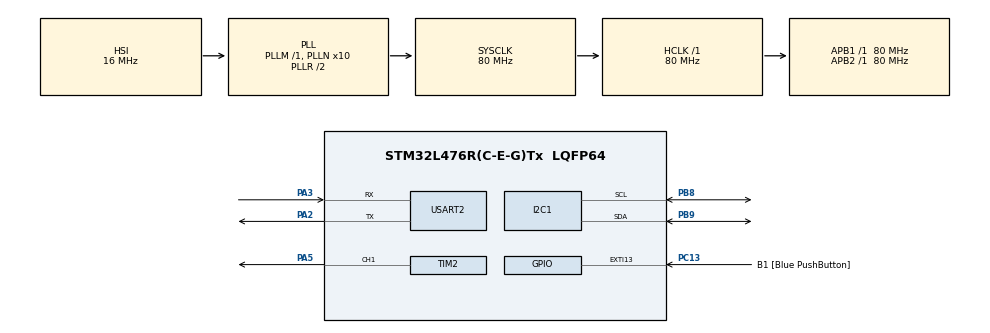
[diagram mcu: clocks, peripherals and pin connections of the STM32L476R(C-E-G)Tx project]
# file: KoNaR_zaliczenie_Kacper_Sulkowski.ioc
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I2C1.Timing=0x10909CEC
Mcu.Family=STM32L4
Mcu.Name=STM32L476R(C-E-G)Tx
Mcu.Package=LQFP64
NVIC.EXTI15_10_IRQn=true\:0\:0\:false\:false\:true\:true\:true\:true
NVIC.I2C1_ER_IRQn=true\:0\:0\:false\:false\:true\:true\:true\:true
NVIC.I2C1_EV_IRQn=true\:0\:0\:false\:false\:true\:true\:true\:true
NVIC.PriorityGroup=NVIC_PRIORITYGROUP_4
NVIC.TIM4_IRQn=true\:0\:0\:false\:false\:true\:true\:true\:true
NVIC.USART2_IRQn=true\:0\:0\:false\:false\:true\:true\:true\:true
PA14\ (JTCK-SWCLK).GPIO_Label=TCK
PA14\ (JTCK-SWCLK).Signal=SYS_JTCK-SWCLK
PA2.GPIO_Mode=GPIO_MODE_AF_PP
PA2.GPIO_ModeDefaultPP=GPIO_MODE_AF_PP
PA2.GPIO_PuPd=GPIO_NOPULL
PA2.GPIO_Speed=GPIO_SPEED_FREQ_VERY_HIGH
PA2.Mode=Asynchronous
PA2.Signal=USART2_TX
PA3.GPIO_Mode=GPIO_MODE_AF_PP
PA3.GPIO_ModeDefaultPP=GPIO_MODE_AF_PP
PA3.GPIO_PuPd=GPIO_NOPULL
PA3.GPIO_Speed=GPIO_SPEED_FREQ_VERY_HIGH
PA3.Mode=Asynchronous
PA3.Signal=USART2_RX
PA5.Signal=S_TIM2_CH1
PB3\ (JTDO-TRACESWO).GPIO_Label=SWO
PB3\ (JTDO-TRACESWO).Signal=SYS_JTDO-SWO
PB8.Mode=I2C
PB8.Signal=I2C1_SCL
PB9.Mode=I2C
PB9.Signal=I2C1_SDA
PC13.GPIO_Label=B1 [Blue PushButton]
PC13.GPIO_ModeDefaultEXTI=GPIO_MODE_IT_FALLING
PC13.GPIO_PuPd=GPIO_NOPULL
PC13.Signal=GPXTI13
PC14-OSC32_IN\ (PC14).Mode=LSE-External-Oscillator
PC14-OSC32_IN\ (PC14).Signal=RCC_OSC32_IN
PC15-OSC32_OUT\ (PC15).Mode=LSE-External-Oscillator
PC15-OSC32_OUT\ (PC15).Signal=RCC_OSC32_OUT
PH0-OSC_IN\ (PH0).Signal=RCC_OSC_IN
PH1-OSC_OUT\ (PH1).Signal=RCC_OSC_OUT
ProjectManager.HeapSize=0x200
ProjectManager.StackSize=0x400
ProjectManager.TargetToolchain=STM32CubeIDE
RCC.ADCFreq_Value=64000000
RCC.AHBFreq_Value=80000000
RCC.APB1Freq_Value=80000000
RCC.APB1TimFreq_Value=80000000
RCC.APB2Freq_Value=80000000
RCC.APB2TimFreq_Value=80000000
RCC.CortexFreq_Value=80000000
RCC.HCLKFreq_Value=80000000
RCC.HSE_VALUE=8000000
RCC.HSI_VALUE=16000000
RCC.MSI_VALUE=4000000
RCC.PLLN=10
RCC.PLLSourceVirtual=RCC_PLLSOURCE_HSI
RCC.PREFETCH_ENABLE=1
RCC.SYSCLKFreq_VALUE=80000000
RCC.SYSCLKSource=RCC_SYSCLKSOURCE_PLLCLK
RCC.USBFreq_Value=64000000
RCC.VCOOutputFreq_Value=160000000
SH.S_TIM2_CH1.0=TIM2_CH1,PWM Generation1 CH1
TIM2.Channel-PWM\ Generation1\ CH1=TIM_CHANNEL_1
TIM2.Period=153
TIM2.Prescaler=39999
TIM4.Channel-Output\ Compare1\ No\ Output=TIM_CHANNEL_1
TIM4.Period=181
TIM4.Prescaler=39999
USART2.VirtualMode-Asynchronous=VM_ASYNC
VP_TIM4_VS_no_output1.Mode=Output Compare1 No Output
board=NUCLEO-L476RG

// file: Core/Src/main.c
/* USER CODE BEGIN Header */
/**
  ******************************************************************************
  * @file           : main.c
  * @brief          : Main program body
  ******************************************************************************
  * @attention
  *
  * Copyright (c) 2023 STMicroelectronics.
  * All rights reserved.
  *
  * This software is licensed under terms that can be found in the LICENSE file
  * in the root directory of this software component.
  * If no LICENSE file comes with this software, it is provided AS-IS.
  *
  ******************************************************************************
  */
/* USER CODE END Header */
#include "main.h"

/* USER CODE BEGIN Includes */
#include "stdbool.h"
#include "stdio.h"
#include "string.h"
#include "hts221_register_map.h"
/* USER CODE END Includes */

/* USER CODE BEGIN PD */
#define tim2_ARR 153
/* USER CODE END PD */

/* USER CODE BEGIN PM */

//flags
static volatile bool button_pushed= false;
static volatile bool hts221_read_ready= false;

//counters
static volatile uint8_t button_push_counter =0;

//buffers
static uint8_t buffer_button_UART[64]={0};
static uint8_t buffer_hts221_UART[64]={0};
static uint8_t buffer_tmp[2]={0};
static uint8_t buffer_hmdt[2]={0};

//Interpolation consts
static	uint16_t T0_OUT=0;
static	uint16_t T1_OUT=0;
static	float T0_degC=0;
static	float T1_degC=0;

static	uint16_t H0_OUT=0;
static	uint16_t H1_OUT=0;
static	float H0_rH=0;
static	float H1_rH=0;

/* USER CODE END PM */

I2C_HandleTypeDef hi2c1;

TIM_HandleTypeDef htim2;
TIM_HandleTypeDef htim4;

UART_HandleTypeDef huart2;

void SystemClock_Config(void);
static void MX_GPIO_Init(void);
static void MX_USART2_UART_Init(void);
static void MX_TIM4_Init(void);
static void MX_TIM2_Init(void);
static void MX_I2C1_Init(void);

/* USER CODE BEGIN 0 */

//CALLBACKS

void HAL_GPIO_EXTI_Callback(uint16_t GPIO_Pin)
{
	if(GPIO_Pin==GPIO_PIN_13)
	{
		button_pushed=1;
		button_push_counter++;
	}
}

void HAL_UART_TxCpltCallback(UART_HandleTypeDef *huart)
{
	if(huart==&huart2)
	{
		//placeholder
	}
}

void HAL_TIM_PeriodElapsedCallback(TIM_HandleTypeDef *htim)
{
	if(htim==&htim4)
	{
		hts221_read_ready=true;
	}
}

void HAL_I2C_MemRxCpltCallback(I2C_HandleTypeDef *hi2c)
{
	if(hi2c==&hi2c1)
	{
		//placeholder
	}
}

// Timers handling functions

void timers_init()
{
	HAL_TIM_Base_Start(&htim2); //inicjalizacja timera
	HAL_TIM_Base_Start_IT(&htim4);//inicjalizacja w trybie IR
	HAL_TIM_PWM_Start(&htim2, TIM_CHANNEL_1); //inicjalizacja generatora PWM
	__HAL_TIM_SET_COMPARE(&htim2, TIM_CHANNEL_1,tim2_ARR/2); //wypełnienie 50%
}

//Button handling functions

void tx_button_pushed_UART_alert()
{
	snprintf((char*)buffer_button_UART, sizeof(buffer_button_UART), "ALLERT: BUTTON PUSHED!!! Counter:  %u\n\r",button_push_counter);
	HAL_UART_Transmit_IT(&huart2,  buffer_button_UART,strlen((char*)buffer_button_UART));
}

//HTS221 handling functions

void hts221_read(uint8_t address,uint8_t* dest, uint8_t size)
{
	HAL_I2C_Mem_Read(&hi2c1, HTS221_I2C_ADDRESS, address, I2C_MEMADD_SIZE_8BIT, dest, size, HAL_MAX_DELAY);
}

void hts221_read_IT(uint8_t address,uint8_t* dest, uint8_t size)
{
	HAL_I2C_Mem_Read_IT(&hi2c1, HTS221_I2C_ADDRESS, address, I2C_MEMADD_SIZE_8BIT, dest, size);
}

void hts221_write(uint8_t address, uint8_t val)
{
	HAL_I2C_Mem_Write(&hi2c1, HTS221_I2C_ADDRESS, address, I2C_MEMADD_SIZE_8BIT, &val, sizeof(val), HAL_MAX_DELAY);
}

void hts221_check_ID()
{
	uint8_t WHO_I_AM=0;

	const char* str = "HTS221 Connected!\n\r";

	hts221_read(HTS221_WHO_AM_I, &WHO_I_AM, 1);

	if(WHO_I_AM==HTS221_I2C_ID)
	{
		HAL_UART_Transmit(&huart2, (uint8_t*)str, strlen(str),HAL_MAX_DELAY);
	}
}

void hts221_tmp_interpol_init()
{
	uint8_t T0_degCx8=0;
	uint8_t T1_degCx8=0;
	uint8_t T1_T0_MSBx8=0;

	hts221_read(HTS221_T0_OUT_H, &buffer_tmp[1], 1);
	hts221_read(HTS221_T0_OUT_L, &buffer_tmp[0], 1);
	T0_OUT=((uint16_t)buffer_tmp[1]<<8) | (uint16_t)buffer_tmp[0];

	hts221_read(HTS221_T1_OUT_H, &buffer_tmp[1], 1);
	hts221_read(HTS221_T1_OUT_L, &buffer_tmp[0], 1);
	T1_OUT=((uint16_t)buffer_tmp[1]<<8) | (uint16_t)buffer_tmp[0];

	hts221_read(HTS221_T0_degC_x8, &T0_degCx8, 1);
	hts221_read(HTS221_T1_degC_x8, &T1_degCx8, 1);
	hts221_read(HTS221_T1_T0_MSB_x8, &T1_T0_MSBx8, 1);

	T0_degC=(T0_degCx8 + ((T1_T0_MSBx8 & 0x03)<<8))/8.f;
	T1_degC=(T1_degCx8 + ((T1_T0_MSBx8 & 0x0C)<<6))/8.f;

}

void hts221_hmdt_interpol_init()
{
	uint8_t H0_rHx2=0;
	uint8_t H1_rHx2=0;

	hts221_read(HTS221_H0_OUT_H, &buffer_hmdt[1], 1);
	hts221_read(HTS221_H0_OUT_L, &buffer_hmdt[0], 1);
	H0_OUT=((uint16_t)buffer_hmdt[1]<<8) | buffer_hmdt[0];

	hts221_read(HTS221_H1_OUT_H, &buffer_hmdt[1], 1);
	hts221_read(HTS221_H1_OUT_L, &buffer_hmdt[0], 1);
	H1_OUT=((uint16_t)buffer_hmdt[1]<<8) | buffer_hmdt[0];

	hts221_read(HTS221_H0_rH_x2, &H0_rHx2, 1);
	hts221_read(HTS221_H1_rH_x2, &H1_rHx2, 1);

	H0_rH=H0_rHx2/2.f;
	H1_rH=H1_rHx2/2.f;
}

void hts221_init()
{
	hts221_check_ID();

	hts221_write(HTS221_CTRL_REG1, HTS221_PD_ON | HTS221_BDU_ON |HTS221_ODR_12HZ);

	hts221_tmp_interpol_init();

	hts221_hmdt_interpol_init();
}

void hts221_data_read()
{
	hts221_read(HTS221_TEMP_OUT_H, &buffer_tmp[1], 1);
	hts221_read(HTS221_HUMIDITY_OUT_H, &buffer_hmdt[1], 1);
	hts221_read(HTS221_TEMP_OUT_L, &buffer_tmp[0], 1);
	hts221_read(HTS221_HUMIDITY_OUT_L, &buffer_hmdt[0], 1);
}

void hts221_UART_data_tx()
{
	float tmp  = ((uint16_t)buffer_tmp[1]<<8) | (uint16_t)buffer_tmp[0];
	tmp=((T1_degC-T0_degC)*(tmp-T0_OUT))/(T1_OUT-T0_OUT) + T0_degC;

	/*!!!!!!!!!!!!!!!!!!!!!!!!!!!!!!!!!!!!!!!!!!!!!!!!!!!!!!!!!!!!!!!!!!!!!!!!!!!!!!!!!!!!!!!!!!!!!
	 *
	 *				!!!!!!!!!!! Tutaj oszukałem (dopisałem "65536 - ") !!!!!!!!!
	 *
	 * Albo mój czujnik jest zrąbany, albo czegoś nie rozumiem. W  suchym pomieszczeniu pokazuje 70%,
	 * a im większa wilgotość faktycznie, tym mniejszy wynik. Można to zaobserwować nawet na suchych
	 * nieprzekonwertowanych danych. W trybie debugowania poprzez Live Expresions na wektorze buffer_hmdt,
	 * w warunkach pokojowych dane prawie przepełniają 16 bitów, a kiedy się na czujnik chuchnie,
	 * to odczyt spada. Współczynnik kierunkowy interpolacji (wyznaczony zgodnie z instrukcją)
	 * jest ewidentnie dodatni, więc nie wiem o co chodzi.
	 *
	 *!!!!!!!!!!!!!!!!!!!!!!!!!!!!!!!!!!!!!!!!!!!!!!!!!!!!!!!!!!!!!!!!!!!!!!!!!!!!!!!!!!!!!!!!!!!!*/

	float hmdt =65536 - (((uint16_t)buffer_hmdt[1]<<8) | buffer_hmdt[0]);
	hmdt=(((H1_rH-H0_rH))*(hmdt-H0_OUT))/(H1_OUT-H0_OUT) + H0_rH;

	snprintf((char*)buffer_hts221_UART,sizeof(buffer_hts221_UART),"Temp: %3.4f[C]; Hmdt: %3.4f[%%] \n\r",tmp,hmdt);

	HAL_UART_Transmit_IT(&huart2, buffer_hts221_UART, strlen((char*)buffer_hts221_UART));

}

/* USER CODE END 0 */

int main(void)
{

  /* MCU Configuration--------------------------------------------------------*/

  /* Reset of all peripherals, Initializes the Flash interface and the Systick. */
  HAL_Init();

  /* Configure the system clock */
  SystemClock_Config();

  /* Initialize all configured peripherals */
  MX_GPIO_Init();
  MX_USART2_UART_Init();
  MX_TIM4_Init();
  MX_TIM2_Init();
  MX_I2C1_Init();
  /* USER CODE BEGIN 2 */

  timers_init();
  hts221_init();

  /* USER CODE END 2 */

  /* Infinite loop */
  /* USER CODE BEGIN WHILE */
  while (1)
  {
	  if(button_pushed)
	  {
		  button_pushed=0;
		  tx_button_pushed_UART_alert();
	  }

	  if(hts221_read_ready)
	  {
		  hts221_read_ready=false;
		  hts221_data_read();
		  hts221_UART_data_tx();
	  }

    /* USER CODE END WHILE */

  }
}

void SystemClock_Config(void)
{
  RCC_OscInitTypeDef RCC_OscInitStruct = {0};
  RCC_ClkInitTypeDef RCC_ClkInitStruct = {0};

  /** Configure the main internal regulator output voltage
  */
  if (HAL_PWREx_ControlVoltageScaling(PWR_REGULATOR_VOLTAGE_SCALE1) != HAL_OK)
  {
    Error_Handler();
  }

  /** Initializes the RCC Oscillators according to the specified parameters
  * in the RCC_OscInitTypeDef structure.
  */
  RCC_OscInitStruct.OscillatorType = RCC_OSCILLATORTYPE_HSI;
  RCC_OscInitStruct.HSIState = RCC_HSI_ON;
  RCC_OscInitStruct.HSICalibrationValue = RCC_HSICALIBRATION_DEFAULT;
  RCC_OscInitStruct.PLL.PLLState = RCC_PLL_ON;
  RCC_OscInitStruct.PLL.PLLSource = RCC_PLLSOURCE_HSI;
  RCC_OscInitStruct.PLL.PLLM = 1;
  RCC_OscInitStruct.PLL.PLLN = 10;
  RCC_OscInitStruct.PLL.PLLP = RCC_PLLP_DIV7;
  RCC_OscInitStruct.PLL.PLLQ = RCC_PLLQ_DIV2;
  RCC_OscInitStruct.PLL.PLLR = RCC_PLLR_DIV2;
  if (HAL_RCC_OscConfig(&RCC_OscInitStruct) != HAL_OK)
  {
    Error_Handler();
  }

  /** Initializes the CPU, AHB and APB buses clocks
  */
  RCC_ClkInitStruct.ClockType = RCC_CLOCKTYPE_HCLK|RCC_CLOCKTYPE_SYSCLK
                              |RCC_CLOCKTYPE_PCLK1|RCC_CLOCKTYPE_PCLK2;
  RCC_ClkInitStruct.SYSCLKSource = RCC_SYSCLKSOURCE_PLLCLK;
  RCC_ClkInitStruct.AHBCLKDivider = RCC_SYSCLK_DIV1;
  RCC_ClkInitStruct.APB1CLKDivider = RCC_HCLK_DIV1;
  RCC_ClkInitStruct.APB2CLKDivider = RCC_HCLK_DIV1;

  if (HAL_RCC_ClockConfig(&RCC_ClkInitStruct, FLASH_LATENCY_4) != HAL_OK)
  {
    Error_Handler();
  }
}

static void MX_I2C1_Init(void)
{

  hi2c1.Instance = I2C1;
  hi2c1.Init.Timing = 0x10909CEC;
  hi2c1.Init.OwnAddress1 = 0;
  hi2c1.Init.AddressingMode = I2C_ADDRESSINGMODE_7BIT;
  hi2c1.Init.DualAddressMode = I2C_DUALADDRESS_DISABLE;
  hi2c1.Init.OwnAddress2 = 0;
  hi2c1.Init.OwnAddress2Masks = I2C_OA2_NOMASK;
  hi2c1.Init.GeneralCallMode = I2C_GENERALCALL_DISABLE;
  hi2c1.Init.NoStretchMode = I2C_NOSTRETCH_DISABLE;
  if (HAL_I2C_Init(&hi2c1) != HAL_OK)
  {
    Error_Handler();
  }

  /** Configure Analogue filter
  */
  if (HAL_I2CEx_ConfigAnalogFilter(&hi2c1, I2C_ANALOGFILTER_ENABLE) != HAL_OK)
  {
    Error_Handler();
  }

  /** Configure Digital filter
  */
  if (HAL_I2CEx_ConfigDigitalFilter(&hi2c1, 0) != HAL_OK)
  {
    Error_Handler();
  }

}

static void MX_TIM2_Init(void)
{

  TIM_MasterConfigTypeDef sMasterConfig = {0};
  TIM_OC_InitTypeDef sConfigOC = {0};

  htim2.Instance = TIM2;
  htim2.Init.Prescaler = 39999;
  htim2.Init.CounterMode = TIM_COUNTERMODE_UP;
  htim2.Init.Period = 153;
  htim2.Init.ClockDivision = TIM_CLOCKDIVISION_DIV1;
  htim2.Init.AutoReloadPreload = TIM_AUTORELOAD_PRELOAD_DISABLE;
  if (HAL_TIM_PWM_Init(&htim2) != HAL_OK)
  {
    Error_Handler();
  }
  sMasterConfig.MasterOutputTrigger = TIM_TRGO_RESET;
  sMasterConfig.MasterSlaveMode = TIM_MASTERSLAVEMODE_DISABLE;
  if (HAL_TIMEx_MasterConfigSynchronization(&htim2, &sMasterConfig) != HAL_OK)
  {
    Error_Handler();
  }
  sConfigOC.OCMode = TIM_OCMODE_PWM1;
  sConfigOC.Pulse = 0;
  sConfigOC.OCPolarity = TIM_OCPOLARITY_HIGH;
  sConfigOC.OCFastMode = TIM_OCFAST_DISABLE;
  if (HAL_TIM_PWM_ConfigChannel(&htim2, &sConfigOC, TIM_CHANNEL_1) != HAL_OK)
  {
    Error_Handler();
  }
  HAL_TIM_MspPostInit(&htim2);

}

static void MX_TIM4_Init(void)
{

  TIM_MasterConfigTypeDef sMasterConfig = {0};
  TIM_OC_InitTypeDef sConfigOC = {0};

  htim4.Instance = TIM4;
  htim4.Init.Prescaler = 39999;
  htim4.Init.CounterMode = TIM_COUNTERMODE_UP;
  htim4.Init.Period = 181;
  htim4.Init.ClockDivision = TIM_CLOCKDIVISION_DIV1;
  htim4.Init.AutoReloadPreload = TIM_AUTORELOAD_PRELOAD_DISABLE;
  if (HAL_TIM_OC_Init(&htim4) != HAL_OK)
  {
    Error_Handler();
  }
  sMasterConfig.MasterOutputTrigger = TIM_TRGO_RESET;
  sMasterConfig.MasterSlaveMode = TIM_MASTERSLAVEMODE_DISABLE;
  if (HAL_TIMEx_MasterConfigSynchronization(&htim4, &sMasterConfig) != HAL_OK)
  {
    Error_Handler();
  }
  sConfigOC.OCMode = TIM_OCMODE_TIMING;
  sConfigOC.Pulse = 0;
  sConfigOC.OCPolarity = TIM_OCPOLARITY_HIGH;
  sConfigOC.OCFastMode = TIM_OCFAST_DISABLE;
  if (HAL_TIM_OC_ConfigChannel(&htim4, &sConfigOC, TIM_CHANNEL_1) != HAL_OK)
  {
    Error_Handler();
  }

}

static void MX_USART2_UART_Init(void)
{

  huart2.Instance = USART2;
  huart2.Init.BaudRate = 115200;
  huart2.Init.WordLength = UART_WORDLENGTH_8B;
  huart2.Init.StopBits = UART_STOPBITS_1;
  huart2.Init.Parity = UART_PARITY_NONE;
  huart2.Init.Mode = UART_MODE_TX_RX;
  huart2.Init.HwFlowCtl = UART_HWCONTROL_NONE;
  huart2.Init.OverSampling = UART_OVERSAMPLING_16;
  huart2.Init.OneBitSampling = UART_ONE_BIT_SAMPLE_DISABLE;
  huart2.AdvancedInit.AdvFeatureInit = UART_ADVFEATURE_NO_INIT;
  if (HAL_UART_Init(&huart2) != HAL_OK)
  {
    Error_Handler();
  }

}

static void MX_GPIO_Init(void)
{
  GPIO_InitTypeDef GPIO_InitStruct = {0};

  /* GPIO Ports Clock Enable */
  __HAL_RCC_GPIOC_CLK_ENABLE();
  __HAL_RCC_GPIOH_CLK_ENABLE();
  __HAL_RCC_GPIOA_CLK_ENABLE();
  __HAL_RCC_GPIOB_CLK_ENABLE();

  /*Configure GPIO pin : B1_Pin */
  GPIO_InitStruct.Pin = B1_Pin;
  GPIO_InitStruct.Mode = GPIO_MODE_IT_FALLING;
  GPIO_InitStruct.Pull = GPIO_NOPULL;
  HAL_GPIO_Init(B1_GPIO_Port, &GPIO_InitStruct);

  /* EXTI interrupt init*/
  HAL_NVIC_SetPriority(EXTI15_10_IRQn, 0, 0);
  HAL_NVIC_EnableIRQ(EXTI15_10_IRQn);

}

void Error_Handler(void)
{
  __disable_irq();
  while (1)
  {
  }
}
